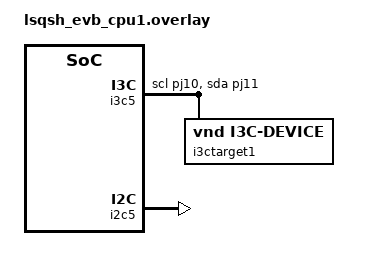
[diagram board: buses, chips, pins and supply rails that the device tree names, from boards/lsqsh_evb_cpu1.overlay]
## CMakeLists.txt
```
# SPDX-License-Identifier: Apache-2.0

cmake_minimum_required(VERSION 3.20.0)

set(DTC_OVERLAY_FILE boards/lsqsh_evb_cpu1.overlay)
find_package(Zephyr REQUIRED HINTS $ENV{ZEPHYR_BASE})
project(i3c_test)

target_sources(app PRIVATE src/main.c)
```

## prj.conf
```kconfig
# nothing here
CONFIG_LOG=y
CONFIG_I3C=y
CONFIG_I2C=y
CONFIG_PINCTRL_DYNAMIC=y
CONFIG_I3C_LOG_LEVEL_ERR=y
```

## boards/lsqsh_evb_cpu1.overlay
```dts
&i3c5_scl_pj10 {
    drive-strength = <1>;
    bias-pull-up2;
};

&i3c5_sda_pj11 {
    drive-strength = <1>;
    bias-pull-up2;
};

&i3c5 {
    i3c-scl-hz = <12500000>;
    i2c-scl-hz = <1000000>;
    status = "okay";
    
    own-dynamic_address = <0x38>;
    tgt-pid = <0x5 0x55>;
    dcr = <0x4>;
    bcr = <0x42>;
    interrupts = <I3C5_IRQN 7>;

    pinctrl-0 = <
        &i3c5_scl_pj10
        &i3c5_sda_pj11
    >;
    pinctrl-1 = <
        &I2C5_scl_PJ10
        &I2C5_sda_PJ11
    >;
    pinctrl-names = "default","pinmux_i2c";

    i3ctarget1: i3ctarget@20813811000 {
        compatible = "vnd,i3c-device";
        reg = < 0 0x0208 0x13811000>;
        assigned-address = <0x32>;
        status = "okay";
    };
};

&i2c5 {
    status = "okay";
};
```

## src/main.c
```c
/*
 * Copyright (c) 2012-2014 Wind River Systems, Inc.
 *
 * SPDX-License-Identifier: Apache-2.0
 */

#include <stdio.h>
#include <zephyr/drivers/i2c.h>
#include <zephyr/kernel.h>
#include <stdlib.h>
#include <stdio.h>
#include <zephyr/drivers/i3c/ccc.h>
#include <zephyr/drivers/i3c.h>
#include <zephyr/drivers/i2c.h>
#include "core_rv32.h"
#include <zephyr/drivers/pinctrl.h>

static const struct device *i3c5 = DEVICE_DT_GET(DT_NODELABEL(i3c5));
static const struct device *i2c5 = DEVICE_DT_GET(DT_NODELABEL(i2c5));

/* pin configuration for test device */
PINCTRL_DT_DEV_CONFIG_DECLARE(DT_NODELABEL(i3c5));
// static const struct pinctrl_dev_config *i2c5_pcfg = DT_PINCTRL_IDX_TO_NAME_TOKEN(DT_NODELABEL(i3c5), 1);
static const struct pinctrl_dev_config *i3c5_pcfg = PINCTRL_DT_DEV_CONFIG_GET(DT_NODELABEL(i3c5));

#define I2C_DEVICE_ADDR 0x50
#define BUF_SIZE 256
uint8_t wdata_buf[BUF_SIZE];
uint8_t rdata_buf[BUF_SIZE];
static void write_read_compare(const struct device *const i2c,uint16_t dev_addr,const uint8_t *wdata,uint8_t *rdata,uint16_t len)
{
	i2c_burst_write(i2c,dev_addr,0,wdata,len);

	i2c_burst_read(i2c,dev_addr,0,rdata,len);

	if(memcmp(wdata,rdata,len))
	{
		printf("len: %d\n", len);
		printf("wdata: ");
		for(uint32_t i = 0; i < len; i++)
		{
			printf("%x ", wdata[i]);
		}
		printf("\n\n");
		printf("len: %d\n", len);
		printf("rdata: ");
		for(uint32_t i = 0; i < len; i++)
		{
			printf("%x ", rdata[i]);
		}
		printf("\n\n");
		__ASSERT(0,"wdata rdata not match\n");
    }
}

#define PINCTRL_STATE_PINMUX_I2C PINCTRL_STATE_PRIV_START

int main(void)
{
	const struct pinctrl_state *i3c_pcfg_state = &i3c5_pcfg->states[0];
	const struct pinctrl_state *i2c_pcfg_state = &i3c5_pcfg->states[1];
	if(i3c_pcfg_state->id != PINCTRL_STATE_DEFAULT)
	{
		__ASSERT(0,"i3c_default_pcfg id must be default\n");
	}
	if(i2c_pcfg_state->id != PINCTRL_STATE_PINMUX_I2C)
	{
		__ASSERT(0,"i3c_to_i2c_pcfg id must be I3C_PINCTRL_STATE_I2C_PINMUX\n");
	}


	if (!device_is_ready(i3c5)) {
		__ASSERT(0,"I3C device is not ready\n");
	}

	if (!device_is_ready(i2c5)) {
		__ASSERT(0,"I2C device is not ready\n");
	}
	/*切换成默认的I3C pinmux*/
	pinctrl_apply_state(i3c5_pcfg, PINCTRL_STATE_DEFAULT);


	i3c_ccc_do_rstdaa_all(i3c5);

	/*切换成I2C pinmux*/
	pinctrl_apply_state(i3c5_pcfg, PINCTRL_STATE_PINMUX_I2C);
    for(uint16_t i = 0; i < BUF_SIZE; i++)
    {
        wdata_buf[i] = i;
    }
	struct i2c_msg msg[2];
	msg[0].buf = rdata_buf;
	msg[0].len = 1;
	msg[0].flags = I2C_MSG_READ;

	msg[1].buf = rdata_buf;
	msg[1].len = 10;
	msg[1].flags = I2C_MSG_READ | I2C_MSG_STOP;

	i2c_transfer(i2c5, msg, 2, I2C_DEVICE_ADDR);

	uint16_t reg_addr=0x04;
	i2c_write_read(i2c5, I2C_DEVICE_ADDR,
			      &reg_addr, 2,
			      rdata_buf, 10);

	msg[0].buf = wdata_buf;
	msg[0].len = 10U;
	msg[0].flags = I2C_MSG_WRITE;

	msg[1].buf = wdata_buf;
	msg[1].len = 5;
	msg[1].flags = I2C_MSG_WRITE | I2C_MSG_STOP;

	i2c_transfer(i2c5, msg, 2, I2C_DEVICE_ADDR);

    /*切换成默认的I3C pinmux*/
	pinctrl_apply_state(i3c5_pcfg, PINCTRL_STATE_DEFAULT);

	i3c_ccc_do_rstdaa_all(i3c5);
    return 0;
}
```
